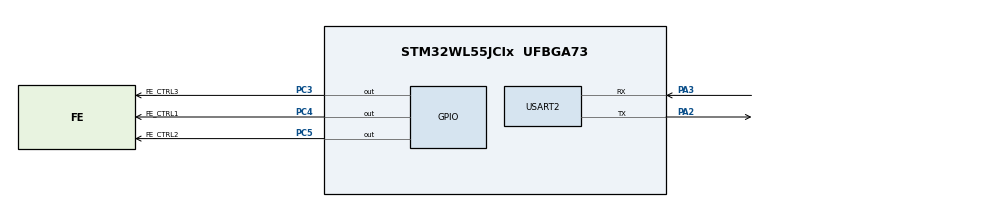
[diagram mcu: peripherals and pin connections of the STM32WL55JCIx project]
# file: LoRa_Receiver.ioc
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Mcu.Family=STM32WL
Mcu.Name=STM32WL55JCIx
Mcu.Package=UFBGA73
NUCLEO-WL55JC1.BUTTON=1
NUCLEO-WL55JC1.BUTTON2=1
NUCLEO-WL55JC1.BUTTON3=1
NUCLEO-WL55JC1.LD1=true
NUCLEO-WL55JC1.LD2=true
NUCLEO-WL55JC1.LD3=true
NUCLEO-WL55JC1.VCP=false
NVIC.PriorityGroup=NVIC_PRIORITYGROUP_4
NVIC.USART2_IRQn=true\:0\:0\:false\:false\:true\:true\:true\:true
PA2.Mode=Asynchronous
PA2.Signal=USART2_TX
PA3.Mode=Asynchronous
PA3.Signal=USART2_RX
PC14-OSC32_IN.GPIO_Label=RCC_OSC32_IN
PC14-OSC32_IN.Signal=RCC_OSC32_IN
PC15-OSC32_OUT.GPIO_Label=RCC_OSC32_OUT
PC15-OSC32_OUT.Signal=RCC_OSC32_OUT
PC3.GPIO_Label=FE_CTRL3
PC3.GPIO_Speed=GPIO_SPEED_FREQ_VERY_HIGH
PC3.Signal=GPIO_Output
PC4.GPIO_Label=FE_CTRL1
PC4.GPIO_Speed=GPIO_SPEED_FREQ_VERY_HIGH
PC4.Signal=GPIO_Output
PC5.GPIO_Label=FE_CTRL2
PC5.GPIO_Speed=GPIO_SPEED_FREQ_VERY_HIGH
PC5.Signal=GPIO_Output
ProjectManager.HeapSize=0x200
ProjectManager.StackSize=0x400
ProjectManager.TargetToolchain=STM32CubeIDE
RCC.HSE_VALUE=32000000
RCC.HSI_VALUE=16000000
RCC.LSE_VALUE=32768
RCC.VCOOutputFreq_Value=32000000
USART2.VirtualMode-Asynchronous=VM_ASYNC
VP_NUCLEO-WL55JC1_VS_BSP_COMMON.Mode=COMMON
board=NUCLEO-WL55JC1

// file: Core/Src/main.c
/* USER CODE BEGIN Header */
/**
  ******************************************************************************
  * @file           : main.c
  * @brief          : Firmware da Placa 2 - Estação Base Receptora LoRa
  ******************************************************************************
  */
/* USER CODE END Header */
#include "main.h"
#include "subghz.h"
#include "usart.h"
#include "gpio.h"

/* USER CODE BEGIN Includes */
#include "stm32wlxx_nucleo.h"
#include <string.h>
#include <stdio.h>
#include <stdbool.h>
#include "radio_driver.h"
/* USER CODE END Includes */

/* USER CODE BEGIN 0 */
// Redireciona a saída do printf para a USART2 (nossa porta de debug para o PC)
int _write(int file, char *ptr, int len)
{
  HAL_UART_Transmit(&huart2, (uint8_t*)ptr, len, HAL_MAX_DELAY);
  return len;
}
/* USER CODE END 0 */

/* USER CODE BEGIN PD */
// --- Definições do Payload (devem ser IDÊNTICAS às da Placa 1) ---
typedef struct __attribute__((packed)) {
    uint32_t packet_id;
    int32_t  latitude_raw;
    int32_t  longitude_raw;
    int32_t  altitude_raw;
    uint16_t voltage_mv;
    int8_t   radio_temp_c;
    uint8_t  sats_and_fix;
} LoRaPayload_t;

#define PAYLOAD_SIZE sizeof(LoRaPayload_t)

// --- Parâmetros LoRa (devem ser IDÊNTICOS aos da Placa 1) ---
#define RF_FREQUENCY                                915000000 // Hz
#define TX_OUTPUT_POWER                             22        // dBm (Aumentado para o máximo)
#define LORA_BANDWIDTH                              0         // 0: 125 kHz (Mantido)
#define LORA_SPREADING_FACTOR                       10        // SF10 (Aumentado de 7)
#define LORA_CODINGRATE                             4         // 4: 4/8 (Aumentado de 1, que era 4/5)
#define LORA_PREAMBLE_LENGTH                        8         // (Mantido)
/* USER CODE END PD */

/* USER CODE BEGIN PV */
uint8_t LoRa_rx_buffer[255]; // Buffer para guardar o pacote LoRa recebido
const RadioLoRaBandwidths_t Bandwidths[] = { LORA_BW_125, LORA_BW_250, LORA_BW_500 };
/* USER CODE END PV */

void SystemClock_Config(void);
/* USER CODE BEGIN PFP */
void Radio_Init(void);
void ProcessAndPrintPayload(uint8_t* buffer, uint8_t size);
void RadioOnDioIrq(RadioIrqMasks_t radioIrq);
/* USER CODE END PFP */

int main(void)
{
  /* MCU Configuration--------------------------------------------------------*/
  HAL_Init();
  SystemClock_Config();
  MX_GPIO_Init();
  MX_USART2_UART_Init();  // Apenas a UART de Debug para o PC
  MX_SUBGHZ_Init();
  // MX_DMA_Init(); // DMA foi desativado para a Placa 2

  /* USER CODE BEGIN 2 */
  BSP_LED_Init(LED_GREEN);

  printf("\r\n--- Placa 2: Estacao Base LoRa Ativa ---\r\n");

  Radio_Init();
  printf("Radio LoRa inicializado em modo de recepcao.\r\n");

  printf("Pronto para receber pacotes LoRa...\r\n");
  // Coloca o rádio em modo de recepção contínua
  SUBGRF_SetRx(0);
  /* USER CODE END 2 */

  /* Infinite loop */
  /* USER CODE BEGIN WHILE */
  while (1)
  {
    // A mágica acontece nos callbacks de interrupção do rádio.
    // O processador pode dormir para economizar energia.
    HAL_PWR_EnterSLEEPMode(PWR_MAINREGULATOR_ON, PWR_SLEEPENTRY_WFI);
  }
  /* USER CODE END WHILE */
}

void SystemClock_Config(void)
{
  // ... (Esta função é gerada pelo CubeMX e deve ser mantida como está) ...
  RCC_OscInitTypeDef RCC_OscInitStruct = {0};
  RCC_ClkInitTypeDef RCC_ClkInitStruct = {0};
  HAL_PWR_EnableBkUpAccess();
  __HAL_RCC_LSEDRIVE_CONFIG(RCC_LSEDRIVE_LOW);
  __HAL_PWR_VOLTAGESCALING_CONFIG(PWR_REGULATOR_VOLTAGE_SCALE1);
  RCC_OscInitStruct.OscillatorType = RCC_OSCILLATORTYPE_LSE|RCC_OSCILLATORTYPE_MSI;
  RCC_OscInitStruct.LSEState = RCC_LSE_ON;
  RCC_OscInitStruct.MSIState = RCC_MSI_ON;
  RCC_OscInitStruct.MSICalibrationValue = RCC_MSICALIBRATION_DEFAULT;
  RCC_OscInitStruct.MSIClockRange = RCC_MSIRANGE_11;
  RCC_OscInitStruct.PLL.PLLState = RCC_PLL_NONE;
  if (HAL_RCC_OscConfig(&RCC_OscInitStruct) != HAL_OK)
  {
    Error_Handler();
  }
  RCC_ClkInitStruct.ClockType = RCC_CLOCKTYPE_HCLK3|RCC_CLOCKTYPE_HCLK
                              |RCC_CLOCKTYPE_SYSCLK|RCC_CLOCKTYPE_PCLK1
                              |RCC_CLOCKTYPE_PCLK2;
  RCC_ClkInitStruct.SYSCLKSource = RCC_SYSCLKSOURCE_MSI;
  RCC_ClkInitStruct.AHBCLKDivider = RCC_SYSCLK_DIV1;
  RCC_ClkInitStruct.APB1CLKDivider = RCC_HCLK_DIV1;
  RCC_ClkInitStruct.APB2CLKDivider = RCC_HCLK_DIV1;
  RCC_ClkInitStruct.AHBCLK3Divider = RCC_SYSCLK_DIV1;
  if (HAL_RCC_ClockConfig(&RCC_ClkInitStruct, FLASH_LATENCY_2) != HAL_OK)
  {
    Error_Handler();
  }
}

/* USER CODE BEGIN 4 */
// --- Nossas funções de apoio ---

void Radio_Init(void)
{
    SUBGRF_Init(RadioOnDioIrq);

    SUBGRF_SetStandby(STDBY_RC);
    SUBGRF_SetPacketType(PACKET_TYPE_LORA);
    SUBGRF_SetRfFrequency(RF_FREQUENCY);
    SUBGRF_SetRfTxPower(TX_OUTPUT_POWER);

    ModulationParams_t modulationParams;
    modulationParams.PacketType = PACKET_TYPE_LORA;
    modulationParams.Params.LoRa.SpreadingFactor = LORA_SPREADING_FACTOR;
    modulationParams.Params.LoRa.Bandwidth = Bandwidths[LORA_BANDWIDTH];
    modulationParams.Params.LoRa.CodingRate = LORA_CODINGRATE;
    modulationParams.Params.LoRa.LowDatarateOptimize = 0x00;
    SUBGRF_SetModulationParams(&modulationParams);

    PacketParams_t packetParams;
    packetParams.PacketType = PACKET_TYPE_LORA;
    packetParams.Params.LoRa.PreambleLength = LORA_PREAMBLE_LENGTH;
    packetParams.Params.LoRa.HeaderType = LORA_PACKET_FIXED_LENGTH; // Mudar para CABEÇALHO FIXO
    packetParams.Params.LoRa.PayloadLength = PAYLOAD_SIZE;        // Definir o tamanho exato
    packetParams.Params.LoRa.CrcMode = LORA_CRC_ON;
    packetParams.Params.LoRa.InvertIQ = LORA_IQ_NORMAL;
    SUBGRF_SetPacketParams(&packetParams);

    // Configura as interrupções do rádio para eventos de RECEPÇÃO
    SUBGRF_SetDioIrqParams(IRQ_RX_DONE | IRQ_RX_TX_TIMEOUT | IRQ_CRC_ERROR,
                           IRQ_RX_DONE | IRQ_RX_TX_TIMEOUT | IRQ_CRC_ERROR,
                           IRQ_RADIO_NONE, IRQ_RADIO_NONE);
}

void RadioOnDioIrq(RadioIrqMasks_t radioIrq)
{
    switch (radioIrq)
    {
        case IRQ_RX_DONE:
            {
                uint8_t received_size = 0;
                PacketStatus_t packetStatus;

                BSP_LED_Toggle(LED_GREEN); // Pisca o LED para indicar recepção

                // Pega o payload e o status do rádio
                SUBGRF_GetPayload(LoRa_rx_buffer, &received_size, 255);
                SUBGRF_GetPacketStatus(&packetStatus);

                printf("Pacote LoRa Recebido! RSSI: %d dBm, SNR: %d\r\n", packetStatus.Params.LoRa.RssiPkt, packetStatus.Params.LoRa.SnrPkt);

                // Processa e imprime os dados
                ProcessAndPrintPayload(LoRa_rx_buffer, received_size);

                // IMPORTANTE: Coloca o rádio de volta em modo de recepção
                SUBGRF_SetRx(0);
            }
            break;
        case IRQ_CRC_ERROR:
            printf("WARN: Erro de CRC no pacote LoRa.\r\n");
            SUBGRF_SetRx(0); // Volta a escutar
            break;
        case IRQ_RX_TX_TIMEOUT:
            // Se houver um timeout de recepção, simplesmente volta a escutar
            SUBGRF_SetRx(0);
            break;
        default:
            break;
    }
}

void ProcessAndPrintPayload(uint8_t* buffer, uint8_t size) {
  if (size != PAYLOAD_SIZE) {
      printf("ERRO: Pacote com tamanho inesperado! Recebido: %d, Esperado: %d\r\n", size, (int)PAYLOAD_SIZE);
      return;
  }

  LoRaPayload_t* telemetry = (LoRaPayload_t*)buffer;

  float latitude = telemetry->latitude_raw / 10000000.0f;
  float longitude = telemetry->longitude_raw / 10000000.0f;
  float altitude_m = telemetry->altitude_raw / 1000.0f;

  bool gpsFixOK = (telemetry->sats_and_fix >> 7) & 0x01;
  uint8_t satCount = telemetry->sats_and_fix & 0x7F;

  printf("\r\n---[ PACOTE DE TELEMETRIA DECODIFICADO ]---\r\n");
  printf("  ID do Pacote:   %lu\r\n", telemetry->packet_id);
  printf("  Latitude:       %f\r\n", latitude);
  printf("  Longitude:      %f\r\n", longitude);
  printf("  Altitude:       %.2f m\r\n", altitude_m);
  printf("  Voltagem:       %u mV\r\n", telemetry->voltage_mv);
  printf("  Temp. Radio:    %d C\r\n", telemetry->radio_temp_c);
  printf("  Status GPS:     %s (Satelites: %u)\r\n", gpsFixOK ? "FIX OK" : "NO FIX", satCount);
  printf("-------------------------------------------\r\n\r\n");
}
/* USER CODE END 4 */

void Error_Handler(void)
{
  __disable_irq();
  while (1)
  {
  }
}
